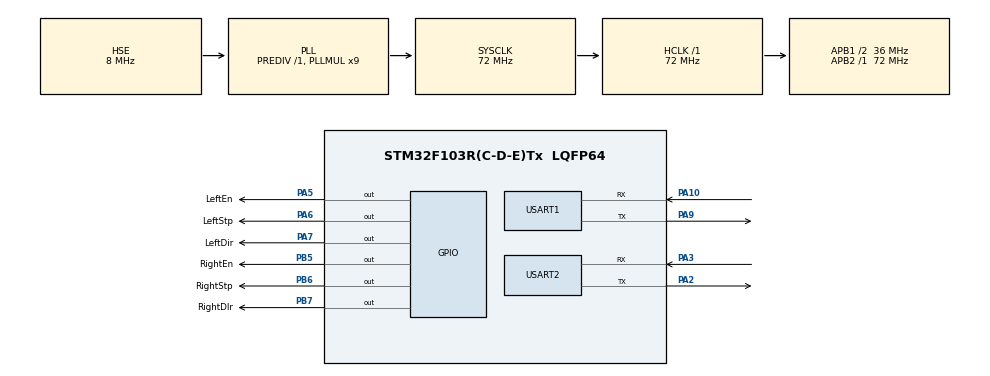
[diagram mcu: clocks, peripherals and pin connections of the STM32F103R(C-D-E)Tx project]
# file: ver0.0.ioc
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FREERTOS.Tasks01=defaultTask,0,128,StartDefaultTask,Default,NULL,Dynamic,NULL,NULL;usartHmi,-3,128,UsartHmiTask,Default,NULL,Dynamic,NULL,NULL;motorRun,-3,128,MotorRun,Default,NULL,Dynamic,NULL,NULL
Mcu.Family=STM32F1
Mcu.Name=STM32F103R(C-D-E)Tx
Mcu.Package=LQFP64
NVIC.PriorityGroup=NVIC_PRIORITYGROUP_4
NVIC.TIM1_UP_IRQn=true\:15\:0\:false\:false\:true\:false\:false\:true
NVIC.TimeBase=TIM1_UP_IRQn
NVIC.TimeBaseIP=TIM1
NVIC.USART1_IRQn=true\:5\:0\:false\:false\:true\:true\:true\:true
NVIC.USART2_IRQn=true\:5\:0\:false\:false\:true\:true\:true\:true
PA10.Mode=Asynchronous
PA10.Signal=USART1_RX
PA13.Mode=JTAG_5_pins
PA13.Signal=SYS_JTMS-SWDIO
PA14.Mode=JTAG_5_pins
PA14.Signal=SYS_JTCK-SWCLK
PA15.Mode=JTAG_5_pins
PA15.Signal=SYS_JTDI
PA2.Mode=Asynchronous
PA2.Signal=USART2_TX
PA3.Mode=Asynchronous
PA3.Signal=USART2_RX
PA5.GPIO_Label=LeftEn
PA5.Signal=GPIO_Output
PA6.GPIO_Label=LeftStp
PA6.Signal=GPIO_Output
PA7.GPIO_Label=LeftDir
PA7.Signal=GPIO_Output
PA9.Mode=Asynchronous
PA9.Signal=USART1_TX
PB3.Mode=JTAG_5_pins
PB3.Signal=SYS_JTDO-TRACESWO
PB4.Mode=JTAG_5_pins
PB4.Signal=SYS_NJTRST
PB5.GPIO_Label=RightEn
PB5.Signal=GPIO_Output
PB6.GPIO_Label=RightStp
PB6.Signal=GPIO_Output
PB7.GPIO_Label=RightDIr
PB7.Signal=GPIO_Output
PD0-OSC_IN.Mode=HSE-External-Oscillator
PD0-OSC_IN.Signal=RCC_OSC_IN
PD1-OSC_OUT.Mode=HSE-External-Oscillator
PD1-OSC_OUT.Signal=RCC_OSC_OUT
ProjectManager.HeapSize=0x200
ProjectManager.StackSize=0x400
ProjectManager.TargetToolchain=MDK-ARM V5.32
RCC.AHBFreq_Value=72000000
RCC.APB1CLKDivider=RCC_HCLK_DIV2
RCC.APB1Freq_Value=36000000
RCC.APB1TimFreq_Value=72000000
RCC.APB2Freq_Value=72000000
RCC.APB2TimFreq_Value=72000000
RCC.HCLKFreq_Value=72000000
RCC.PLLMUL=RCC_PLL_MUL9
RCC.PLLSourceVirtual=RCC_PLLSOURCE_HSE
RCC.SYSCLKFreq_VALUE=72000000
RCC.SYSCLKSource=RCC_SYSCLKSOURCE_PLLCLK
RCC.USBFreq_Value=72000000
USART1.VirtualMode=VM_ASYNC
USART2.VirtualMode=VM_ASYNC
VP_FREERTOS_VS_CMSIS_V1.Mode=CMSIS_V1
VP_SYS_VS_tim1.Mode=TIM1
board=custom

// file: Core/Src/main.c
/* USER CODE BEGIN Header */
/**
  ******************************************************************************
  * @file           : main.c
  * @brief          : Main program body
  ******************************************************************************
  * @attention
  *
  * <h2><center>&copy; Copyright (c) 2021 STMicroelectronics.
  * All rights reserved.</center></h2>
  *
  * This software component is licensed by ST under Ultimate Liberty license
  * SLA0044, the "License"; You may not use this file except in compliance with
  * the License. You may obtain a copy of the License at:
  *                             www.st.com/SLA0044
  *
  ******************************************************************************
  */
/* USER CODE END Header */
#include "main.h"
#include "cmsis_os.h"
#include "usart.h"
#include "gpio.h"

void SystemClock_Config(void);
void MX_FREERTOS_Init(void);

int main(void)
{

  /* MCU Configuration--------------------------------------------------------*/

  /* Reset of all peripherals, Initializes the Flash interface and the Systick. */
  HAL_Init();

  /* Configure the system clock */
  SystemClock_Config();

  /* Initialize all configured peripherals */
  MX_GPIO_Init();
  MX_USART1_UART_Init();
  MX_USART2_UART_Init();

  /* Call init function for freertos objects (in freertos.c) */
  MX_FREERTOS_Init();
  /* Start scheduler */
  osKernelStart();

  /* We should never get here as control is now taken by the scheduler */
  /* Infinite loop */
  while (1)
  {

  }
}

void SystemClock_Config(void)
{
  RCC_OscInitTypeDef RCC_OscInitStruct = {0};
  RCC_ClkInitTypeDef RCC_ClkInitStruct = {0};

  /** Initializes the RCC Oscillators according to the specified parameters
  * in the RCC_OscInitTypeDef structure.
  */
  RCC_OscInitStruct.OscillatorType = RCC_OSCILLATORTYPE_HSE;
  RCC_OscInitStruct.HSEState = RCC_HSE_ON;
  RCC_OscInitStruct.HSEPredivValue = RCC_HSE_PREDIV_DIV1;
  RCC_OscInitStruct.HSIState = RCC_HSI_ON;
  RCC_OscInitStruct.PLL.PLLState = RCC_PLL_ON;
  RCC_OscInitStruct.PLL.PLLSource = RCC_PLLSOURCE_HSE;
  RCC_OscInitStruct.PLL.PLLMUL = RCC_PLL_MUL9;
  if (HAL_RCC_OscConfig(&RCC_OscInitStruct) != HAL_OK)
  {
    Error_Handler();
  }
  /** Initializes the CPU, AHB and APB buses clocks
  */
  RCC_ClkInitStruct.ClockType = RCC_CLOCKTYPE_HCLK|RCC_CLOCKTYPE_SYSCLK
                              |RCC_CLOCKTYPE_PCLK1|RCC_CLOCKTYPE_PCLK2;
  RCC_ClkInitStruct.SYSCLKSource = RCC_SYSCLKSOURCE_PLLCLK;
  RCC_ClkInitStruct.AHBCLKDivider = RCC_SYSCLK_DIV1;
  RCC_ClkInitStruct.APB1CLKDivider = RCC_HCLK_DIV2;
  RCC_ClkInitStruct.APB2CLKDivider = RCC_HCLK_DIV1;

  if (HAL_RCC_ClockConfig(&RCC_ClkInitStruct, FLASH_LATENCY_2) != HAL_OK)
  {
    Error_Handler();
  }
}

void HAL_TIM_PeriodElapsedCallback(TIM_HandleTypeDef *htim)
{
  if (htim->Instance == TIM1) {
    HAL_IncTick();
  }
}

void Error_Handler(void)
{
  __disable_irq();
  while (1)
  {
  }
}

/************************ (C) COPYRIGHT STMicroelectronics *****END OF FILE****/

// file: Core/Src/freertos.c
/* USER CODE BEGIN Header */
/**
  ******************************************************************************
  * File Name          : freertos.c
  * Description        : Code for freertos applications
  ******************************************************************************
  * @attention
  *
  * <h2><center>&copy; Copyright (c) 2021 STMicroelectronics.
  * All rights reserved.</center></h2>
  *
  * This software component is licensed by ST under Ultimate Liberty license
  * SLA0044, the "License"; You may not use this file except in compliance with
  * the License. You may obtain a copy of the License at:
  *                             www.st.com/SLA0044
  *
  ******************************************************************************
  */
/* USER CODE END Header */

#include "FreeRTOS.h"
#include "task.h"
#include "main.h"
#include "cmsis_os.h"

/* USER CODE BEGIN Includes */
#include "usart.h"
#include "usarthmi.h"
#include "motor.h"

/* USER CODE END Includes */

osThreadId defaultTaskHandle;
osThreadId usartHmiHandle;
osThreadId motorRunHandle;

void StartDefaultTask(void const * argument);
void UsartHmiTask(void const * argument);
void MotorRun(void const * argument);

void MX_FREERTOS_Init(void); /* (MISRA C 2004 rule 8.1) */

/* GetIdleTaskMemory prototype (linked to static allocation support) */
void vApplicationGetIdleTaskMemory( StaticTask_t **ppxIdleTaskTCBBuffer, StackType_t **ppxIdleTaskStackBuffer, uint32_t *pulIdleTaskStackSize );

/* USER CODE BEGIN GET_IDLE_TASK_MEMORY */
static StaticTask_t xIdleTaskTCBBuffer;
static StackType_t xIdleStack[configMINIMAL_STACK_SIZE];

void vApplicationGetIdleTaskMemory( StaticTask_t **ppxIdleTaskTCBBuffer, StackType_t **ppxIdleTaskStackBuffer, uint32_t *pulIdleTaskStackSize )
{
  *ppxIdleTaskTCBBuffer = &xIdleTaskTCBBuffer;
  *ppxIdleTaskStackBuffer = &xIdleStack[0];
  *pulIdleTaskStackSize = configMINIMAL_STACK_SIZE;
  /* place for user code */
}
/* USER CODE END GET_IDLE_TASK_MEMORY */

void MX_FREERTOS_Init(void) {

  /* Create the thread(s) */
  /* definition and creation of defaultTask */
  osThreadDef(defaultTask, StartDefaultTask, osPriorityNormal, 0, 128);
  defaultTaskHandle = osThreadCreate(osThread(defaultTask), NULL);

  /* definition and creation of usartHmi */
  osThreadDef(usartHmi, UsartHmiTask, osPriorityIdle, 0, 128);
  usartHmiHandle = osThreadCreate(osThread(usartHmi), NULL);

  /* definition and creation of motorRun */
  osThreadDef(motorRun, MotorRun, osPriorityIdle, 0, 128);
  motorRunHandle = osThreadCreate(osThread(motorRun), NULL);

}

void StartDefaultTask(void const * argument)
{
  for(;;)
  {
    osDelay(1);
  }
}

void UsartHmiTask(void const * argument)
{
  /* USER CODE BEGIN UsartHmiTask */
  /* Infinite loop */
	//__HAL_UART_ENABLE_IT(&huart2, UART_IT_RXNE);
	uint8_t buf[4] = {0};
  for(;;)
  {
		HAL_UART_Receive(&huart2, (uint8_t *)&buf, 2, 0xFFFF);
		buf[3] = 0;
		printf("%c%d\r\n",buf[1], buf[0]);
    osDelay(1);
  }
  /* USER CODE END UsartHmiTask */
}

void MotorRun(void const * argument)
{
  /* USER CODE BEGIN MotorRun */
  /* Infinite loop */
	uint32_t t = 1;
	HAL_GPIO_WritePin(LeftDir_GPIO_Port, LeftDir_Pin, GPIO_PIN_SET);
	HAL_GPIO_WritePin(RightDIr_GPIO_Port, RightDIr_Pin, GPIO_PIN_SET);
	osDelay(2000);
	for(;;)
  {
		if(t)
		{
			t = 0;
//			MotorGoStrate(3100);
//			osDelay(200);
//			MotorTurnRight();
//			osDelay(200);
//			MotorGoStrate(2000);
//			osDelay(200);
//			MotorTurn180();
//			osDelay(200);
//			MotorGoStrate(2000);
//			osDelay(200);
//			MotorTurnLeft();
//			osDelay(200);
//			MotorGoStrate(2600);
			//			MotorGoStrate(3100);
			osDelay(200);
			MotorTurnLeft();
			osDelay(200);
			MotorGoStrate(2000);
			osDelay(200);
			MotorTurn180();
			osDelay(200);
			MotorGoStrate(2000);
			osDelay(200);
			MotorTurnRight();
			osDelay(200);
			MotorGoStrate(2600);
		}
		osDelay(1);
  }
  /* USER CODE END MotorRun */
}

/************************ (C) COPYRIGHT STMicroelectronics *****END OF FILE****/
